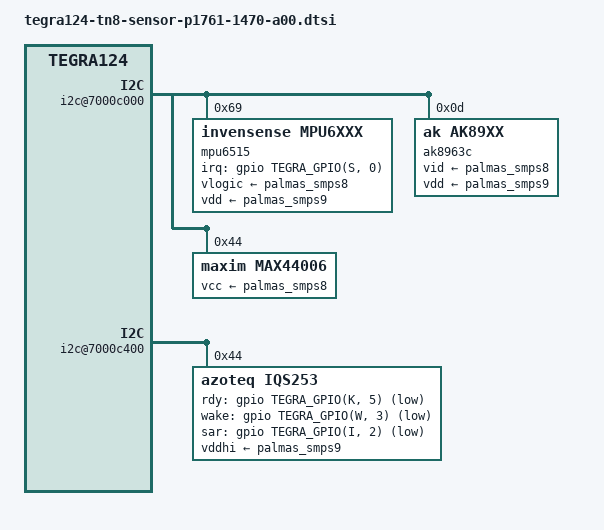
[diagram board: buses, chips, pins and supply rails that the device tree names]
/* Copyright (c) 2015, NVIDIA CORPORATION.  All rights reserved.
 *
 * This program is free software; you can redistribute it and/or modify
 * it under the terms of the GNU General Public License as published by
 * the Free Software Foundation; either version 2 of the License, or
 * (at your option) any later version.
 *
 * This program is distributed in the hope that it will be useful, but WITHOUT
 * ANY WARRANTY; without even the implied warranty of MERCHANTABILITY or
 * FITNESS FOR A PARTICULAR PURPOSE.  See the GNU General Public License for
 * more details.
 *
 * You should have received a copy of the GNU General Public License along
 * with this program; if not, write to the Free Software Foundation, Inc.,
 * 51 Franklin Street, Fifth Floor, Boston, MA  02110-1301, USA.
 */

#include <dt-bindings/gpio/tegra-gpio.h>

/ {
	i2c@7000c000 {
		mpu6515@69 {
			compatible = "invensense,mpu6xxx";
			reg = <0x69>;
			interrupt-parent = <&gpio>;
			interrupts = <TEGRA_GPIO(S, 0) 0x01>;
			accelerometer_matrix = [ff 00 00 00 01 00 00 00 ff];
			gyroscope_matrix = [ff 00 00 00 01 00 00 00 ff];
			vlogic-supply = <&palmas_smps8>;
			vdd-supply = <&palmas_smps9>;
		};

		ak8963c@0d {
			compatible = "ak,ak89xx";
			reg = <0x0d>;
			magnetic_field_matrix = [ff 00 00 00 01 00 00 00 ff];
			vid-supply = <&palmas_smps8>;
			vdd-supply = <&palmas_smps9>;
		};

		max44006@44 {
			compatible = "maxim,max44006";
			reg = <0x44>;
			vcc-supply = <&palmas_smps8>;
		};
	};

	i2c@7000c400 {
		status = "okay";

		iqs253@44 {
			compatible = "azoteq,iqs253";
			reg = <0x44>;
			vddhi-supply = <&palmas_smps9>;
			vendor = "Azoteq";
			proximity,max-range = "2"; /* 2 cm */
			proximity,integration-time = "16000000"; /* 16 msec */
			proximity,power-consumed = "1.67"; /* approx mA */
			rdy-gpio = <&gpio TEGRA_GPIO(K, 5) GPIO_ACTIVE_LOW>;
			wake-gpio = <&gpio TEGRA_GPIO(W, 3) GPIO_ACTIVE_LOW>;
			sar-gpio = <&gpio TEGRA_GPIO(I, 2) GPIO_ACTIVE_LOW>;
		};
	};
};
